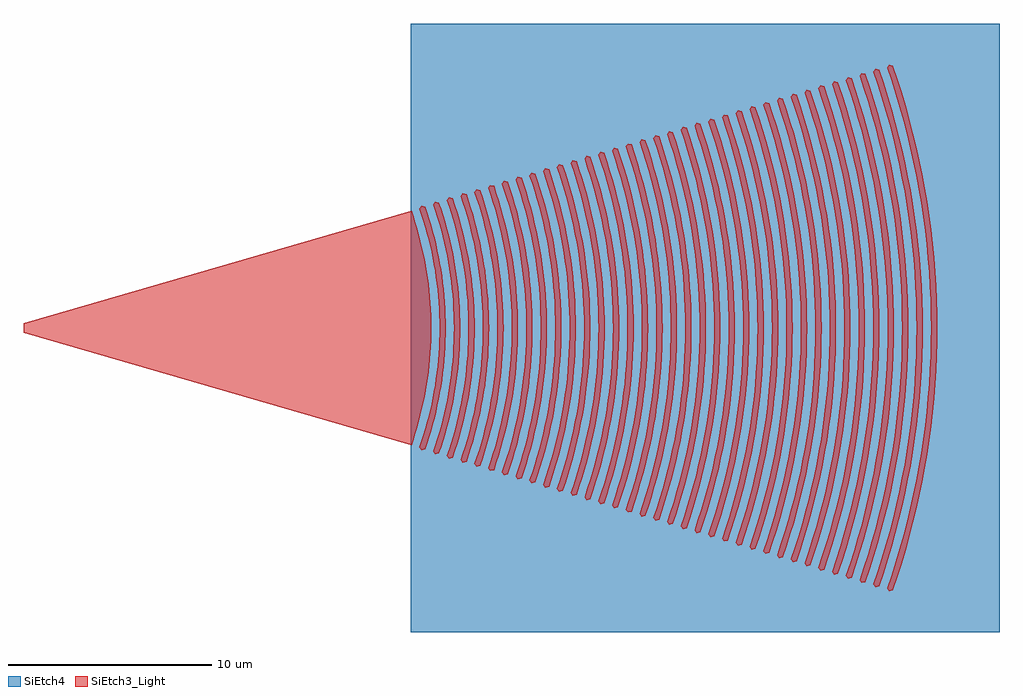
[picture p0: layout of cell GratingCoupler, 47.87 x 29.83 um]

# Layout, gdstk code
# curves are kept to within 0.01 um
import gdstk
lib = gdstk.Library(unit=1e-6, precision=1e-09)
def R(c, l, rs):  # rectangles x0, y0, x1, y1
    for r in rs: c.add(gdstk.rectangle(r[:2], r[2:], *l))
def P(c, l, *ps):  # polygons
    for p in ps: c.add(gdstk.Polygon(p, *l))
SiEtch3_Light = (3, 0)
SiEtch4 = (5, 0)

gratingcoupler = lib.new_cell('GratingCoupler')
P(gratingcoupler, SiEtch3_Light, [(19.032,-5.74),(0,-0.225),(0,0.225),(19.032,5.74),(19.312,4.86),(19.472,4.265),(19.612,3.666),(19.73,3.061),(19.868,2.149),(19.932,1.537),(19.976,0.923),(20,0),(19.976,-0.923),(19.932,-1.537),(19.868,-2.149),(19.73,-3.061),(19.612,-3.666),(19.472,-4.265),(19.312,-4.86)],
  [(19.532,-5.995),(19.422,-5.852),(19.707,-4.953),(19.945,-4.043),(20.076,-3.429),(20.232,-2.501),(20.31,-1.878),(20.364,-1.253),(20.398,-0.627),(20.409,0),(20.398,0.627),(20.364,1.253),(20.31,1.878),(20.232,2.501),(20.076,3.429),(19.945,4.043),(19.707,4.953),(19.422,5.852),(19.532,5.995),(19.706,5.948),(19.808,5.647),(20.082,4.73),(20.237,4.111),(20.37,3.487),(20.53,2.543),(20.608,1.91),(20.684,0.956),(20.709,0),(20.684,-0.956),(20.608,-1.91),(20.53,-2.543),(20.37,-3.487),(20.237,-4.111),(20.082,-4.73),(19.808,-5.647),(19.706,-5.948)],
  [(20.206,-6.199),(20.096,-6.056),(20.299,-5.437),(20.562,-4.499),(20.774,-3.548),(20.935,-2.588),(21.015,-1.944),(21.072,-1.297),(21.106,-0.649),(21.118,0),(21.106,0.649),(21.072,1.297),(21.015,1.944),(20.935,2.588),(20.774,3.548),(20.562,4.499),(20.299,5.437),(20.096,6.056),(20.206,6.199),(20.38,6.152),(20.486,5.841),(20.68,5.21),(20.852,4.573),(21.068,3.606),(21.233,2.63),(21.345,1.647),(21.392,0.989),(21.418,0),(21.392,-0.989),(21.345,-1.647),(21.233,-2.63),(21.068,-3.606),(20.852,-4.573),(20.68,-5.21),(20.486,-5.841),(20.38,-6.152)],
  [(20.881,-6.402),(20.771,-6.259),(20.981,-5.62),(21.251,-4.651),(21.471,-3.668),(21.589,-3.007),(21.682,-2.343),(21.754,-1.675),(21.815,-0.671),(21.827,0),(21.815,0.671),(21.754,1.675),(21.682,2.343),(21.589,3.007),(21.471,3.668),(21.251,4.651),(20.981,5.62),(20.771,6.259),(20.881,6.402),(21.055,6.355),(21.164,6.034),(21.365,5.382),(21.543,4.723),(21.765,3.726),(21.936,2.717),(22.019,2.041),(22.1,1.022),(22.127,0),(22.1,-1.022),(22.019,-2.041),(21.936,-2.717),(21.765,-3.726),(21.543,-4.723),(21.365,-5.382),(21.164,-6.034),(21.055,-6.355)],
  [(21.556,-6.606),(21.446,-6.463),(21.662,-5.803),(21.942,-4.801),(22.169,-3.787),(22.341,-2.762),(22.427,-2.074),(22.487,-1.384),(22.524,-0.693),(22.536,0),(22.524,0.693),(22.487,1.384),(22.427,2.074),(22.341,2.762),(22.169,3.787),(21.942,4.801),(21.662,5.803),(21.446,6.463),(21.556,6.606),(21.73,6.559),(21.842,6.227),(22.144,5.215),(22.315,4.533),(22.463,3.845),(22.639,2.804),(22.725,2.106),(22.808,1.055),(22.836,0),(22.808,-1.055),(22.725,-2.106),(22.639,-2.804),(22.463,-3.845),(22.315,-4.533),(22.144,-5.215),(21.842,-6.227),(21.73,-6.559)],
  [(22.23,-6.809),(22.12,-6.666),(22.344,-5.986),(22.632,-4.953),(22.866,-3.906),(23.044,-2.849),(23.132,-2.14),(23.194,-1.428),(23.232,-0.715),(23.245,0),(23.232,0.715),(23.194,1.428),(23.132,2.14),(23.044,2.849),(22.866,3.906),(22.632,4.953),(22.344,5.986),(22.12,6.666),(22.23,6.809),(22.404,6.762),(22.52,6.42),(22.734,5.727),(22.924,5.025),(23.16,3.964),(23.342,2.891),(23.43,2.172),(23.517,1.087),(23.545,0),(23.517,-1.087),(23.43,-2.172),(23.342,-2.891),(23.16,-3.964),(22.924,-5.025),(22.734,-5.727),(22.52,-6.42),(22.404,-6.762)],
  [(22.905,-7.013),(22.795,-6.87),(23.025,-6.168),(23.323,-5.103),(23.563,-4.025),(23.747,-2.936),(23.838,-2.205),(23.902,-1.471),(23.941,-0.737),(23.954,0),(23.941,0.737),(23.902,1.471),(23.838,2.205),(23.747,2.936),(23.563,4.025),(23.323,5.103),(23.025,6.168),(22.795,6.87),(22.905,7.013),(23.079,6.966),(23.199,6.613),(23.418,5.899),(23.613,5.177),(23.857,4.083),(24.045,2.978),(24.136,2.237),(24.225,1.12),(24.254,0),(24.225,-1.12),(24.136,-2.237),(24.045,-2.978),(23.857,-4.083),(23.613,-5.177),(23.418,-5.899),(23.199,-6.613),(23.079,-6.966)],
  [(23.58,-7.216),(23.47,-7.073),(23.707,-6.351),(24.013,-5.255),(24.261,-4.145),(24.394,-3.398),(24.5,-2.648),(24.58,-1.893),(24.65,-0.758),(24.663,0),(24.65,0.758),(24.58,1.893),(24.5,2.648),(24.394,3.398),(24.261,4.145),(24.013,5.255),(23.707,6.351),(23.47,7.073),(23.58,7.216),(23.754,7.169),(23.877,6.806),(24.207,5.7),(24.394,4.954),(24.555,4.203),(24.69,3.446),(24.841,2.302),(24.933,1.153),(24.963,0),(24.933,-1.153),(24.841,-2.302),(24.69,-3.446),(24.555,-4.203),(24.394,-4.954),(24.207,-5.7),(23.877,-6.806),(23.754,-7.169)],
  [(24.254,-7.42),(24.144,-7.277),(24.388,-6.534),(24.703,-5.406),(24.958,-4.264),(25.095,-3.495),(25.204,-2.723),(25.287,-1.948),(25.358,-0.78),(25.372,0),(25.358,0.78),(25.287,1.948),(25.204,2.723),(25.095,3.495),(24.958,4.264),(24.703,5.406),(24.388,6.534),(24.144,7.277),(24.254,7.42),(24.428,7.373),(24.555,6.999),(24.894,5.862),(25.087,5.095),(25.252,4.322),(25.391,3.543),(25.547,2.368),(25.641,1.185),(25.672,0),(25.641,-1.185),(25.547,-2.368),(25.391,-3.543),(25.252,-4.322),(25.087,-5.095),(24.894,-5.862),(24.555,-6.999),(24.428,-7.373)],
  [(24.929,-7.623),(24.819,-7.48),(25.07,-6.717),(25.394,-5.557),(25.656,-4.383),(25.796,-3.593),(25.908,-2.8),(25.993,-2.002),(26.067,-0.802),(26.081,0),(26.067,0.802),(25.993,2.002),(25.908,2.8),(25.796,3.593),(25.656,4.383),(25.394,5.557),(25.07,6.717),(24.819,7.48),(24.929,7.623),(25.103,7.576),(25.233,7.192),(25.582,6.024),(25.78,5.236),(25.95,4.441),(26.153,3.239),(26.252,2.433),(26.349,1.218),(26.381,0),(26.349,-1.218),(26.252,-2.433),(26.153,-3.239),(25.95,-4.441),(25.78,-5.236),(25.582,-6.024),(25.233,-7.192),(25.103,-7.576)],
  [(25.604,-7.827),(25.494,-7.684),(25.869,-6.504),(26.084,-5.708),(26.353,-4.502),(26.497,-3.691),(26.613,-2.876),(26.7,-2.057),(26.775,-0.824),(26.79,0),(26.775,0.824),(26.7,2.057),(26.613,2.876),(26.497,3.691),(26.353,4.502),(26.084,5.708),(25.869,6.504),(25.494,7.684),(25.604,7.827),(25.778,7.78),(25.911,7.386),(26.157,6.588),(26.374,5.782),(26.647,4.56),(26.856,3.326),(26.958,2.498),(27.057,1.251),(27.09,0),(27.057,-1.251),(26.958,-2.498),(26.856,-3.326),(26.647,-4.56),(26.374,-5.782),(26.157,-6.588),(25.911,-7.386),(25.778,-7.78)],
  [(26.278,-8.03),(26.168,-7.887),(26.432,-7.082),(26.774,-5.859),(27.051,-4.622),(27.199,-3.789),(27.317,-2.952),(27.407,-2.111),(27.484,-0.846),(27.499,0),(27.484,0.846),(27.407,2.111),(27.317,2.952),(27.199,3.789),(27.051,4.622),(26.774,5.859),(26.432,7.082),(26.168,7.887),(26.278,8.03),(26.452,7.983),(26.59,7.579),(26.957,6.347),(27.165,5.517),(27.345,4.68),(27.559,3.413),(27.705,2.137),(27.784,0.856),(27.799,0),(27.784,-0.856),(27.705,-2.137),(27.559,-3.413),(27.345,-4.68),(27.165,-5.517),(26.957,-6.347),(26.59,-7.579),(26.452,-7.983)],
  [(26.953,-8.234),(26.843,-8.091),(27.114,-7.265),(27.465,-6.011),(27.748,-4.741),(27.9,-3.887),(28.021,-3.029),(28.113,-2.166),(28.193,-0.867),(28.208,0),(28.193,0.867),(28.113,2.166),(28.021,3.029),(27.9,3.887),(27.748,4.741),(27.465,6.011),(27.114,7.265),(26.843,8.091),(26.953,8.234),(27.127,8.187),(27.268,7.772),(27.526,6.932),(27.755,6.085),(28.042,4.799),(28.262,3.5),(28.369,2.629),(28.473,1.316),(28.508,0),(28.473,-1.316),(28.369,-2.629),(28.262,-3.5),(28.042,-4.799),(27.755,-6.085),(27.526,-6.932),(27.268,-7.772),(27.127,-8.187)],
  [(27.628,-8.437),(27.518,-8.294),(27.795,-7.448),(28.155,-6.162),(28.356,-5.296),(28.601,-3.984),(28.725,-3.105),(28.82,-2.22),(28.882,-1.333),(28.917,0),(28.882,1.333),(28.82,2.22),(28.725,3.105),(28.601,3.984),(28.356,5.296),(28.155,6.162),(27.795,7.448),(27.518,8.294),(27.628,8.437),(27.802,8.39),(28.081,7.536),(28.445,6.236),(28.65,5.358),(28.823,4.475),(28.965,3.587),(29.118,2.246),(29.182,1.349),(29.217,0),(29.182,-1.349),(29.118,-2.246),(28.965,-3.587),(28.823,-4.475),(28.65,-5.358),(28.445,-6.236),(28.081,-7.536),(27.802,-8.39)],
  [(28.303,-8.641),(28.193,-8.498),(28.477,-7.63),(28.845,-6.313),(29.143,-4.979),(29.302,-4.082),(29.43,-3.181),(29.526,-2.275),(29.59,-1.366),(29.626,0),(29.61,0.911),(29.526,2.275),(29.43,3.181),(29.302,4.082),(29.143,4.979),(28.845,6.313),(28.477,7.63),(28.193,8.498),(28.303,8.641),(28.477,8.594),(28.763,7.718),(29.135,6.387),(29.437,5.037),(29.668,3.674),(29.78,2.76),(29.89,1.382),(29.926,0),(29.89,-1.382),(29.78,-2.76),(29.668,-3.674),(29.437,-5.037),(29.135,-6.387),(28.763,-7.718),(28.477,-8.594)],
  [(28.977,-8.844),(28.867,-8.701),(29.292,-7.365),(29.535,-6.464),(29.84,-5.099),(30.003,-4.18),(30.134,-3.256),(30.233,-2.329),(30.298,-1.398),(30.335,0),(30.298,1.398),(30.233,2.329),(30.134,3.256),(30.003,4.18),(29.84,5.099),(29.535,6.464),(29.292,7.365),(28.867,8.701),(28.977,8.844),(29.151,8.797),(29.444,7.901),(29.825,6.538),(30.134,5.157),(30.37,3.761),(30.486,2.825),(30.598,1.414),(30.635,0),(30.598,-1.414),(30.486,-2.825),(30.37,-3.761),(30.134,-5.157),(29.825,-6.538),(29.444,-7.901),(29.151,-8.797)],
  [(29.652,-9.048),(29.542,-8.905),(29.84,-7.996),(30.226,-6.615),(30.538,-5.218),(30.705,-4.278),(30.838,-3.333),(30.94,-2.384),(31.027,-0.955),(31.044,0),(31.027,0.955),(30.94,2.384),(30.838,3.333),(30.705,4.278),(30.538,5.218),(30.226,6.615),(29.84,7.996),(29.542,8.905),(29.652,9.048),(29.826,9.001),(30.126,8.084),(30.395,7.156),(30.63,6.22),(30.921,4.801),(31.073,3.848),(31.238,2.41),(31.306,1.447),(31.344,0),(31.306,-1.447),(31.238,-2.41),(31.073,-3.848),(30.921,-4.801),(30.63,-6.22),(30.395,-7.156),(30.126,-8.084),(29.826,-9.001)],
  [(30.327,-9.251),(30.217,-9.108),(30.661,-7.71),(30.915,-6.768),(31.137,-5.816),(31.406,-4.375),(31.543,-3.409),(31.646,-2.438),(31.736,-0.976),(31.753,0),(31.736,0.976),(31.646,2.438),(31.543,3.409),(31.406,4.375),(31.137,5.816),(30.915,6.768),(30.661,7.71),(30.217,9.108),(30.327,9.251),(30.501,9.204),(30.949,7.794),(31.322,6.36),(31.62,4.91),(31.841,3.445),(31.944,2.464),(32.036,0.986),(32.053,0),(32.036,-0.986),(31.944,-2.464),(31.841,-3.445),(31.62,-4.91),(31.322,-6.36),(30.949,-7.794),(30.501,-9.204)],
  [(31.001,-9.455),(30.891,-9.312),(31.203,-8.361),(31.605,-6.919),(31.933,-5.456),(32.107,-4.473),(32.247,-3.486),(32.353,-2.493),(32.444,-0.998),(32.462,0),(32.444,0.998),(32.353,2.493),(32.247,3.486),(32.107,4.473),(31.933,5.456),(31.605,6.919),(31.203,8.361),(30.891,9.312),(31.001,9.455),(31.175,9.408),(31.337,8.931),(31.633,7.966),(32.015,6.501),(32.32,5.018),(32.479,4.022),(32.651,2.519),(32.722,1.513),(32.762,0),(32.722,-1.513),(32.651,-2.519),(32.479,-4.022),(32.32,-5.018),(32.015,-6.501),(31.633,-7.966),(31.337,-8.931),(31.175,-9.408)],
  [(31.676,-9.658),(31.566,-9.515),(31.884,-8.544),(32.297,-7.069),(32.63,-5.576),(32.808,-4.571),(32.951,-3.562),(33.059,-2.547),(33.153,-1.02),(33.171,0),(33.153,1.02),(33.059,2.547),(32.951,3.562),(32.808,4.571),(32.63,5.576),(32.297,7.069),(31.884,8.544),(31.566,9.515),(31.676,9.658),(31.85,9.611),(32.318,8.138),(32.708,6.642),(33.019,5.127),(33.182,4.109),(33.357,2.573),(33.399,2.06),(33.453,1.03),(33.471,0),(33.453,-1.03),(33.399,-2.06),(33.357,-2.573),(33.182,-4.109),(33.019,-5.127),(32.708,-6.642),(32.318,-8.138),(31.85,-9.611)],
  [(32.351,-9.861),(32.241,-9.718),(32.566,-8.727),(32.987,-7.22),(33.327,-5.695),(33.51,-4.669),(33.656,-3.638),(33.766,-2.602),(33.862,-1.042),(33.88,0),(33.862,1.042),(33.766,2.602),(33.656,3.638),(33.51,4.669),(33.327,5.695),(32.987,7.22),(32.566,8.727),(32.241,9.718),(32.351,9.861),(32.525,9.814),(33.003,8.311),(33.401,6.782),(33.719,5.235),(33.885,4.196),(34.064,2.628),(34.139,1.578),(34.18,0),(34.139,-1.578),(34.064,-2.628),(33.885,-4.196),(33.719,-5.235),(33.401,-6.782),(33.003,-8.311),(32.525,-9.814)],
  [(33.025,-10.065),(32.915,-9.922),(33.247,-8.909),(33.677,-7.371),(34.025,-5.814),(34.211,-4.767),(34.36,-3.714),(34.473,-2.656),(34.547,-1.595),(34.589,0),(34.547,1.595),(34.473,2.656),(34.36,3.714),(34.211,4.767),(34.025,5.814),(33.677,7.371),(33.247,8.909),(32.915,9.922),(33.025,10.065),(33.199,10.018),(33.371,9.51),(33.687,8.483),(34.094,6.923),(34.418,5.344),(34.588,4.283),(34.771,2.682),(34.847,1.611),(34.889,0),(34.847,-1.611),(34.771,-2.682),(34.588,-4.283),(34.418,-5.344),(34.094,-6.923),(33.687,-8.483),(33.371,-9.51),(33.199,-10.018)],
  [(33.7,-10.268),(33.59,-10.125),(33.929,-9.092),(34.367,-7.523),(34.613,-6.466),(34.912,-4.864),(35.064,-3.79),(35.179,-2.71),(35.279,-1.086),(35.298,0),(35.279,1.086),(35.179,2.71),(35.064,3.79),(34.912,4.864),(34.613,6.466),(34.367,7.523),(33.929,9.092),(33.59,10.125),(33.7,10.268),(33.874,10.221),(34.372,8.655),(34.52,8.127),(34.787,7.063),(34.907,6.528),(35.117,5.452),(35.29,4.37),(35.477,2.736),(35.555,1.643),(35.598,0),(35.555,-1.643),(35.477,-2.736),(35.29,-4.37),(35.117,-5.452),(34.907,-6.528),(34.787,-7.063),(34.52,-8.127),(34.372,-8.655),(33.874,-10.221)],
  [(34.375,-10.472),(34.265,-10.329),(34.61,-9.275),(35.058,-7.674),(35.42,-6.053),(35.613,-4.962),(35.769,-3.866),(35.886,-2.765),(35.963,-1.66),(36.007,0),(35.963,1.66),(35.886,2.765),(35.769,3.866),(35.613,4.962),(35.42,6.053),(35.058,7.674),(34.61,9.275),(34.265,10.329),(34.375,10.472),(34.549,10.425),(34.728,9.896),(35.056,8.827),(35.48,7.204),(35.817,5.561),(36.067,3.902),(36.184,2.791),(36.263,1.676),(36.307,0),(36.263,-1.676),(36.184,-2.791),(36.067,-3.902),(35.817,-5.561),(35.48,-7.204),(35.056,-8.827),(34.728,-9.896),(34.549,-10.425)],
  [(35.049,-10.675),(34.939,-10.532),(35.292,-9.458),(35.748,-7.825),(36.117,-6.172),(36.315,-5.06),(36.473,-3.942),(36.592,-2.819),(36.696,-1.129),(36.716,0),(36.696,1.129),(36.592,2.819),(36.473,3.942),(36.315,5.06),(36.117,6.172),(35.748,7.825),(35.292,9.458),(34.939,10.532),(35.049,10.675),(35.223,10.628),(35.406,10.09),(35.741,9),(35.895,8.45),(36.172,7.345),(36.297,6.788),(36.516,5.669),(36.611,5.108),(36.771,3.98),(36.89,2.845),(36.971,1.709),(37.011,0.57),(37.016,0),(37.011,-0.57),(36.971,-1.709),(36.89,-2.845),(36.771,-3.98),(36.611,-5.108),(36.516,-5.669),(36.297,-6.788),(36.172,-7.345),(35.895,-8.45),(35.741,-9),(35.406,-10.09),(35.223,-10.628)],
  [(35.724,-10.879),(35.614,-10.736),(35.973,-9.64),(36.138,-9.088),(36.438,-7.976),(36.815,-6.291),(37.016,-5.158),(37.177,-4.019),(37.299,-2.874),(37.405,-1.151),(37.425,0),(37.405,1.151),(37.299,2.874),(37.177,4.019),(37.016,5.158),(36.815,6.291),(36.438,7.976),(36.138,9.088),(35.973,9.64),(35.614,10.736),(35.724,10.879),(35.898,10.832),(36.084,10.283),(36.426,9.172),(36.865,7.485),(36.992,6.919),(37.216,5.778),(37.399,4.631),(37.475,4.055),(37.597,2.9),(37.644,2.322),(37.705,1.161),(37.725,0),(37.705,-1.161),(37.644,-2.322),(37.597,-2.9),(37.541,-3.478),(37.399,-4.631),(37.216,-5.778),(36.992,-6.919),(36.865,-7.485),(36.426,-9.172),(36.084,-10.283),(35.898,-10.832)],
  [(36.399,-11.082),(36.289,-10.939),(36.655,-9.823),(37.129,-8.127),(37.394,-6.986),(37.512,-6.41),(37.717,-5.255),(37.881,-4.095),(38.006,-2.928),(38.113,-1.173),(38.134,0),(38.113,1.173),(38.006,2.928),(37.881,4.095),(37.717,5.255),(37.512,6.41),(37.394,6.986),(37.129,8.127),(36.655,9.823),(36.289,10.939),(36.399,11.082),(36.573,11.035),(36.762,10.476),(37.11,9.344),(37.27,8.774),(37.558,7.626),(37.688,7.048),(37.915,5.886),(38.102,4.718),(38.247,3.544),(38.304,2.954),(38.387,1.774),(38.429,0.592),(38.434,0),(38.429,-0.592),(38.387,-1.774),(38.304,-2.954),(38.247,-3.544),(38.102,-4.718),(37.915,-5.886),(37.688,-7.048),(37.558,-7.626),(37.27,-8.774),(37.11,-9.344),(36.762,-10.476),(36.573,-11.035)],
  [(37.073,-11.286),(36.963,-11.143),(37.336,-10.006),(37.507,-9.433),(37.819,-8.279),(38.089,-7.116),(38.209,-6.53),(38.418,-5.353),(38.586,-4.171),(38.712,-2.983),(38.796,-1.791),(38.838,-0.597),(38.843,0),(38.838,0.597),(38.796,1.791),(38.712,2.983),(38.586,4.171),(38.418,5.353),(38.209,6.53),(38.089,7.116),(37.819,8.279),(37.507,9.433),(37.336,10.006),(36.963,11.143),(37.073,11.286),(37.247,11.239),(37.44,10.669),(37.795,9.517),(38.109,8.353),(38.251,7.766),(38.383,7.178),(38.615,5.995),(38.805,4.805),(38.884,4.207),(39.01,3.009),(39.096,1.807),(39.138,0.603),(39.143,0),(39.138,-0.603),(39.096,-1.807),(39.01,-3.009),(38.884,-4.207),(38.805,-4.805),(38.615,-5.995),(38.383,-7.178),(38.251,-7.766),(38.109,-8.353),(37.795,-9.517),(37.44,-10.669),(37.247,-11.239)],
  [(37.748,-11.489),(37.638,-11.346),(38.018,-10.188),(38.355,-9.019),(38.509,-8.43),(38.652,-7.839),(38.907,-6.649),(39.12,-5.451),(39.29,-4.247),(39.419,-3.037),(39.504,-1.824),(39.531,-1.216),(39.552,0),(39.531,1.216),(39.504,1.824),(39.419,3.037),(39.29,4.247),(39.12,5.451),(38.907,6.649),(38.652,7.839),(38.509,8.43),(38.355,9.019),(38.018,10.188),(37.638,11.346),(37.748,11.489),(37.922,11.442),(38.118,10.862),(38.479,9.689),(38.645,9.097),(38.944,7.907),(39.078,7.308),(39.314,6.103),(39.508,4.892),(39.658,3.674),(39.717,3.063),(39.804,1.84),(39.847,0.614),(39.852,0),(39.847,-0.614),(39.804,-1.84),(39.717,-3.063),(39.658,-3.674),(39.508,-4.892),(39.314,-6.103),(39.078,-7.308),(38.944,-7.907),(38.645,-9.097),(38.479,-9.689),(38.118,-10.862),(37.922,-11.442)],
  [(38.423,-11.693),(38.313,-11.55),(38.699,-10.371),(38.876,-9.777),(39.199,-8.581),(39.345,-7.979),(39.604,-6.768),(39.821,-5.549),(39.994,-4.323),(40.125,-3.092),(40.212,-1.856),(40.256,-0.619),(40.261,0),(40.256,0.619),(40.212,1.856),(40.125,3.092),(39.994,4.323),(39.821,5.549),(39.604,6.768),(39.345,7.979),(39.199,8.581),(38.876,9.777),(38.699,10.371),(38.313,11.55),(38.423,11.693),(38.597,11.646),(38.797,11.055),(39.164,9.861),(39.332,9.259),(39.637,8.047),(39.773,7.437),(40.013,6.212),(40.211,4.979),(40.363,3.74),(40.423,3.118),(40.512,1.872),(40.556,0.625),(40.561,0),(40.556,-0.625),(40.512,-1.872),(40.423,-3.118),(40.363,-3.74),(40.211,-4.979),(40.013,-6.212),(39.773,-7.437),(39.637,-8.047),(39.332,-9.259),(39.164,-9.861),(38.797,-11.055),(38.597,-11.646)],
  [(39.097,-11.896),(38.987,-11.753),(39.38,-10.554),(39.561,-9.949),(39.89,-8.732),(40.038,-8.12),(40.302,-6.887),(40.522,-5.646),(40.699,-4.4),(40.832,-3.146),(40.92,-1.889),(40.948,-1.26),(40.97,0),(40.948,1.26),(40.92,1.889),(40.832,3.146),(40.699,4.4),(40.522,5.646),(40.302,6.887),(40.038,8.12),(39.89,8.732),(39.561,9.949),(39.38,10.554),(38.987,11.753),(39.097,11.896),(39.271,11.849),(39.475,11.248),(39.849,10.033),(40.02,9.421),(40.33,8.188),(40.469,7.567),(40.713,6.32),(40.913,5.066),(40.997,4.436),(41.13,3.172),(41.22,1.905),(41.248,1.27),(41.27,0),(41.248,-1.27),(41.22,-1.905),(41.13,-3.172),(40.997,-4.436),(40.913,-5.066),(40.713,-6.32),(40.469,-7.567),(40.33,-8.188),(40.02,-9.421),(39.849,-10.033),(39.475,-11.248),(39.271,-11.849)],
  [(39.772,-12.1),(39.662,-11.957),(40.062,-10.737),(40.418,-9.504),(40.58,-8.884),(40.87,-7.635),(40.999,-7.007),(41.223,-5.744),(41.403,-4.476),(41.539,-3.201),(41.628,-1.922),(41.656,-1.282),(41.679,0),(41.656,1.282),(41.628,1.922),(41.539,3.201),(41.403,4.476),(41.223,5.744),(40.999,7.007),(40.87,7.635),(40.58,8.884),(40.418,9.504),(40.062,10.737),(39.662,11.957),(39.772,12.1),(39.946,12.053),(40.153,11.441),(40.533,10.206),(40.708,9.582),(41.022,8.329),(41.164,7.697),(41.412,6.429),(41.616,5.153),(41.701,4.512),(41.837,3.227),(41.928,1.938),(41.973,0.647),(41.979,0),(41.973,-0.647),(41.928,-1.938),(41.837,-3.227),(41.701,-4.512),(41.616,-5.153),(41.412,-6.429),(41.164,-7.697),(41.022,-8.329),(40.708,-9.582),(40.533,-10.206),(40.153,-11.441),(39.946,-12.053)],
  [(40.447,-12.303),(40.337,-12.16),(40.743,-10.919),(40.93,-10.294),(41.27,-9.035),(41.423,-8.401),(41.697,-7.126),(41.925,-5.842),(42.107,-4.552),(42.245,-3.255),(42.336,-1.955),(42.365,-1.304),(42.388,0),(42.365,1.304),(42.336,1.955),(42.245,3.255),(42.107,4.552),(41.925,5.842),(41.697,7.126),(41.423,8.401),(41.27,9.035),(40.93,10.294),(40.743,10.919),(40.337,12.16),(40.447,12.303),(40.621,12.256),(40.831,11.635),(41.218,10.378),(41.395,9.744),(41.715,8.469),(41.859,7.828),(42.112,6.538),(42.319,5.24),(42.48,3.936),(42.543,3.281),(42.636,1.971),(42.665,1.314),(42.688,0),(42.665,-1.314),(42.636,-1.971),(42.543,-3.281),(42.48,-3.936),(42.319,-5.24),(42.112,-6.538),(41.859,-7.828),(41.715,-8.469),(41.395,-9.744),(41.218,-10.378),(40.831,-11.635),(40.621,-12.256)],
  [(41.121,-12.507),(41.011,-12.364),(41.425,-11.102),(41.793,-9.828),(41.961,-9.186),(42.116,-8.542),(42.394,-7.245),(42.626,-5.94),(42.812,-4.628),(42.952,-3.31),(43.044,-1.987),(43.074,-1.325),(43.097,0),(43.074,1.325),(43.044,1.987),(42.952,3.31),(42.812,4.628),(42.626,5.94),(42.394,7.245),(42.116,8.542),(41.961,9.186),(41.793,9.828),(41.425,11.102),(41.011,12.364),(41.121,12.507),(41.295,12.46),(41.509,11.828),(41.902,10.55),(42.083,9.906),(42.408,8.61),(42.554,7.957),(42.811,6.646),(43.022,5.327),(43.11,4.664),(43.25,3.336),(43.303,2.669),(43.374,1.335),(43.397,0),(43.374,-1.335),(43.303,-2.669),(43.25,-3.336),(43.11,-4.664),(43.022,-5.327),(42.811,-6.646),(42.554,-7.957),(42.408,-8.61),(42.083,-9.906),(41.902,-10.55),(41.509,-11.828),(41.295,-12.46)],
  [(41.796,-12.71),(41.686,-12.567),(42.106,-11.285),(42.299,-10.638),(42.651,-9.337),(42.809,-8.682),(43.091,-7.365),(43.327,-6.038),(43.516,-4.704),(43.658,-3.364),(43.711,-2.692),(43.782,-1.347),(43.806,0),(43.782,1.347),(43.711,2.692),(43.658,3.364),(43.516,4.704),(43.327,6.038),(43.091,7.365),(42.809,8.682),(42.651,9.337),(42.299,10.638),(42.106,11.285),(41.686,12.567),(41.796,12.71),(41.97,12.663),(42.187,12.021),(42.587,10.722),(42.77,10.068),(43.101,8.75),(43.249,8.087),(43.511,6.755),(43.725,5.414),(43.891,4.066),(43.956,3.39),(44.052,2.036),(44.1,0.679),(44.106,0),(44.1,-0.679),(44.052,-2.036),(43.956,-3.39),(43.891,-4.066),(43.725,-5.414),(43.511,-6.755),(43.249,-8.087),(43.101,-8.75),(42.77,-10.068),(42.587,-10.722),(42.187,-12.021),(41.97,-12.663)],
  [(42.471,-12.914),(42.361,-12.771),(42.788,-11.468),(42.984,-10.811),(43.341,-9.488),(43.502,-8.823),(43.789,-7.484),(44.028,-6.135),(44.22,-4.78),(44.365,-3.419),(44.461,-2.053),(44.491,-1.369),(44.515,0),(44.491,1.369),(44.461,2.053),(44.365,3.419),(44.22,4.78),(44.028,6.135),(43.789,7.484),(43.502,8.823),(43.341,9.488),(42.984,10.811),(42.788,11.468),(42.361,12.771),(42.471,12.914),(42.645,12.867),(42.866,12.214),(43.272,10.895),(43.458,10.23),(43.794,8.891),(43.945,8.217),(44.21,6.863),(44.428,5.501),(44.597,4.132),(44.663,3.445),(44.761,2.069),(44.809,0.69),(44.815,0),(44.809,-0.69),(44.761,-2.069),(44.663,-3.445),(44.597,-4.132),(44.428,-5.501),(44.21,-6.863),(43.945,-8.217),(43.794,-8.891),(43.458,-10.23),(43.272,-10.895),(42.866,-12.214),(42.645,-12.867)])
R(gratingcoupler, SiEtch4, [(19,-14.914,47.874,14.914)])

lib.write_gds('GratingCoupler.gds')
